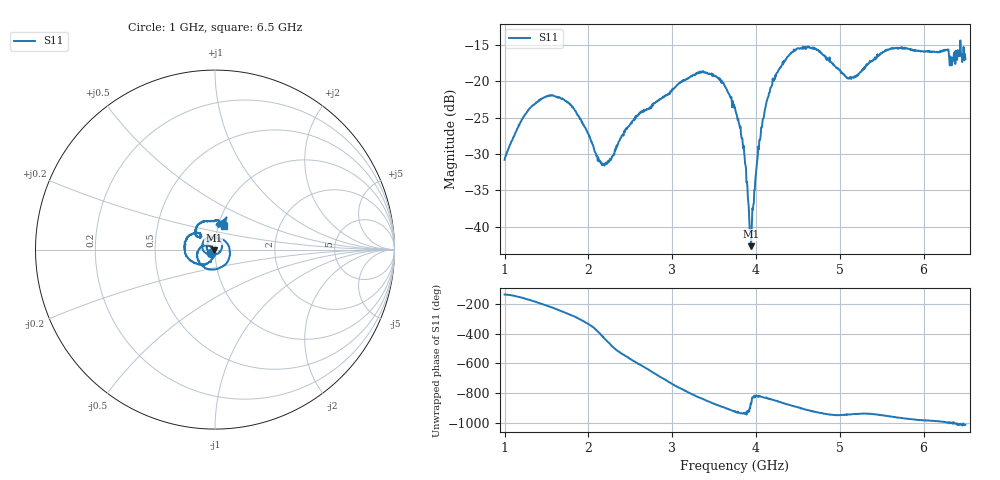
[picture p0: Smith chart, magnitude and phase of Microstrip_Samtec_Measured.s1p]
# HZ S RI R 50
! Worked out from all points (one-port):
!   1005 points, 1 GHz to 6.5 GHz, reference 50 ohm
!   lowest |S11| = -42.7 dB at 3.942 GHz (marker M1), VSWR 1.01, Z = 49.3 - j0.323 ohm
!   |S11| at or under -10 dB: start of sweep to end of sweep
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1e9  -0.0214 -0.0194
1.306773e9  -0.0655 -0.00534
1.525896e9  -0.0638 0.0475
1.690239e9  -0.024 0.0723
1.876494e9  0.0268 0.0518
2.166833e9  0.0147 -0.0227
2.270916e9  -0.0138 -0.0259
2.375e9  -0.038 -0.0109
2.736554e9  0.0215 0.0625
3.065239e9  0.0751 -0.0576
3.278885e9  -0.0144 -0.1115
3.498008e9  -0.0959 -0.054
3.618526e9  -0.0952 -0.00873
3.75e9  -0.0622 0.0221
3.83765e9  -0.0329 0.0238
3.881474e9  -0.0222 0.0118
3.919821e9  -0.0107 0.00423
3.941733e9  -0.0066 -0.00327
3.958168e9  -0.00381 -0.0129
4.040339e9  -0.0084 -0.0386
4.127988e9  -0.022 -0.0694
4.226594e9  -0.065 -0.0807
4.440239e9  -0.1531 -0.0419
4.7251e9  -0.1466 0.0745
5.125e9  -0.0794 0.0725
5.541335e9  -0.1009 0.1275
5.815239e9  -0.0551 0.1585
6.5e9  0.0522 0.1324
